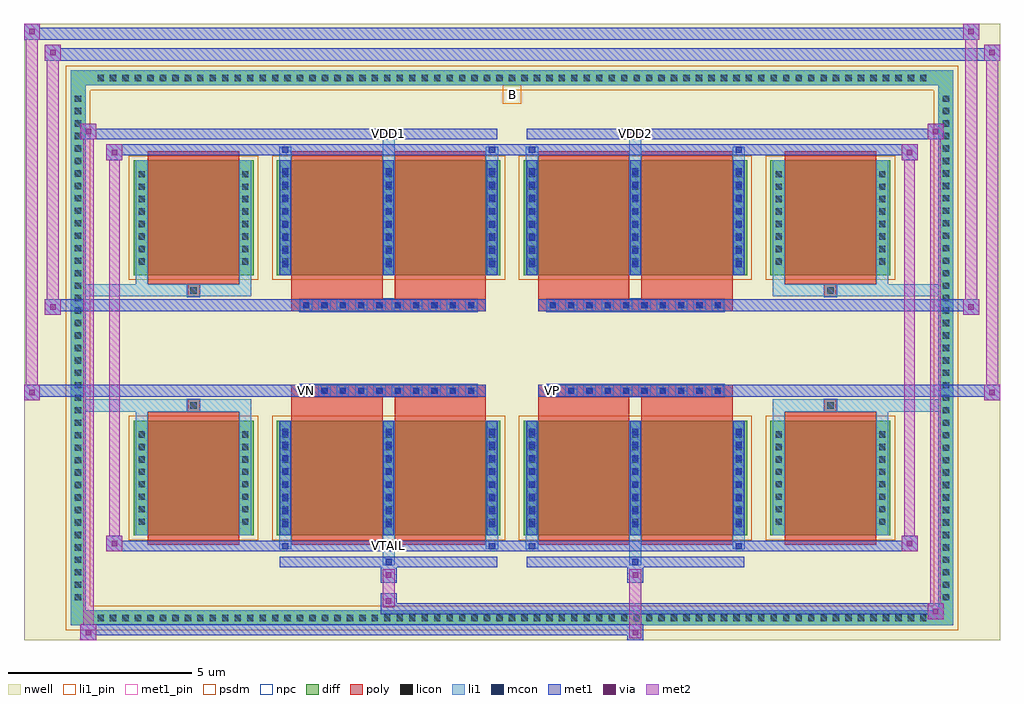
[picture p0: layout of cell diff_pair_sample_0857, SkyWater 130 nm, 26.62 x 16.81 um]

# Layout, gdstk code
import gdstk
lib = gdstk.Library(unit=1e-6, precision=5e-09)
def R(c, l, rs):  # rectangles x0, y0, x1, y1
    for r in rs: c.add(gdstk.rectangle(r[:2], r[2:], *l))
def A(c, l, x, y, w, h, nx, ny, dx, dy):  # array of equal rectangles
    R(c, l, [(x+i*dx, y+j*dy, x+i*dx+w, y+j*dy+h) for i in range(nx) for j in range(ny)])
def P(c, l, *ps):  # polygons
    for p in ps: c.add(gdstk.Polygon(p, *l))
nwell = (64, 20)
diff = (65, 20)
poly = (66, 20)
licon = (66, 44)
li1_pin = (67, 16)
li1 = (67, 20)
mcon = (67, 44)
met1_pin = (68, 16)
met1 = (68, 20)
via = (68, 44)
met2 = (69, 20)
psdm = (94, 20)
npc = (95, 20)

diff_pair_sample_0857 = lib.new_cell('diff_pair_sample_0857')
R(diff_pair_sample_0857, nwell, [(-13.31,-7.97,13.31,8.84), (-10.63,-6.16,-0.01,-0.8), (0.01,-6.16,10.63,-0.8), (-10.63,0.8,-0.01,6.16), (0.01,0.8,10.63,6.16)])
A(diff_pair_sample_0857, diff, -11.425, -7.57, 0.41, 0.41, 67, 2, 0.34, 14.73)
A(diff_pair_sample_0857, diff, -12.04, -7.005, 0.41, 0.41, 1, 41, 0, 0.34)
A(diff_pair_sample_0857, diff, 11.63, -7.005, 0.41, 0.41, 1, 41, 0, 0.34)
R(diff_pair_sample_0857, diff, [(-11.425,-7.57,11.425,-7.16), (-12.04,-7.005,-11.63,7.005), (11.63,-7.005,12.04,7.005), (-10.32,-5.115,-7.05,-1.985), (-6.41,-5.115,-0.32,-1.985), (0.32,-5.115,6.41,-1.985), (7.05,-5.115,10.32,-1.985), (-10.32,1.985,-7.05,5.115), (-6.41,1.985,-0.32,5.115), (0.32,1.985,6.41,5.115), (7.05,1.985,10.32,5.115), (-11.425,7.16,11.425,7.57)])
P(diff_pair_sample_0857, diff, [(12.04,7.57),(-12.04,7.57),(-12.04,-7.16),(-11.63,-7.16),(-11.63,7.16),(11.63,7.16),(11.63,-7.16),(-11.63,-7.16),(-12.04,-7.16),(-12.04,-7.57),(12.04,-7.57)])
A(diff_pair_sample_0857, poly, -5.78, -1.33, 0.33, 0.33, 10, 2, 0.5, 2.33)
A(diff_pair_sample_0857, poly, 0.95, -1.33, 0.33, 0.33, 10, 2, 0.5, 2.33)
R(diff_pair_sample_0857, poly, [(-9.93,-5.365,-7.44,-1.735), (-6.02,-5.365,-3.53,-1.735), (-3.2,-5.365,-0.71,-1.735), (0.71,-5.365,3.2,-1.735), (3.53,-5.365,6.02,-1.735), (7.44,-5.365,9.93,-1.735), (-8.85,-1.735,-8.52,-1.405), (-8.85,-1.735,-8.52,-1.405), (-6.02,-1.735,-3.53,-1.33), (-3.2,-1.735,-0.71,-1.33), (0.71,-1.735,3.2,-1.33), (3.53,-1.735,6.02,-1.33), (8.52,-1.735,8.85,-1.405), (8.52,-1.735,8.85,-1.405), (-6.02,-1.33,-0.71,-1), (0.71,-1.33,6.02,-1), (-6.02,1,-0.71,1.33), (0.71,1,6.02,1.33), (-6.02,1.33,-3.53,1.735), (-3.2,1.33,-0.71,1.735), (0.71,1.33,3.2,1.735), (3.53,1.33,6.02,1.735), (-8.85,1.405,-8.52,1.735), (-8.85,1.405,-8.52,1.735), (8.52,1.405,8.85,1.735), (8.52,1.405,8.85,1.735), (-9.93,1.735,-7.44,5.365), (-6.02,1.735,-3.53,5.365), (-3.2,1.735,-0.71,5.365), (0.71,1.735,3.2,5.365), (3.53,1.735,6.02,5.365), (7.44,1.735,9.93,5.365)])
A(diff_pair_sample_0857, licon, -11.305, -7.45, 0.17, 0.17, 67, 2, 0.34, 14.73)
A(diff_pair_sample_0857, licon, -11.92, -6.885, 0.17, 0.17, 1, 41, 0, 0.34)
A(diff_pair_sample_0857, licon, 11.75, -6.885, 0.17, 0.17, 1, 41, 0, 0.34)
A(diff_pair_sample_0857, licon, -10.18, -4.825, 0.17, 0.17, 1, 8, 0, 0.34)
A(diff_pair_sample_0857, licon, -7.36, -4.825, 0.17, 0.17, 1, 8, 0, 0.34)
A(diff_pair_sample_0857, licon, -6.27, -4.825, 0.17, 0.17, 3, 8, 2.82, 0.34)
A(diff_pair_sample_0857, licon, 0.46, -4.825, 0.17, 0.17, 3, 8, 2.82, 0.34)
A(diff_pair_sample_0857, licon, 7.19, -4.825, 0.17, 0.17, 1, 8, 0, 0.34)
A(diff_pair_sample_0857, licon, 10.01, -4.825, 0.17, 0.17, 1, 8, 0, 0.34)
A(diff_pair_sample_0857, licon, -5.7, -1.25, 0.17, 0.17, 10, 2, 0.5, 2.33)
A(diff_pair_sample_0857, licon, 1.03, -1.25, 0.17, 0.17, 10, 2, 0.5, 2.33)
A(diff_pair_sample_0857, licon, -10.18, 2.275, 0.17, 0.17, 1, 8, 0, 0.34)
A(diff_pair_sample_0857, licon, -7.36, 2.275, 0.17, 0.17, 1, 8, 0, 0.34)
A(diff_pair_sample_0857, licon, -6.27, 2.275, 0.17, 0.17, 3, 8, 2.82, 0.34)
A(diff_pair_sample_0857, licon, 0.46, 2.275, 0.17, 0.17, 3, 8, 2.82, 0.34)
A(diff_pair_sample_0857, licon, 7.19, 2.275, 0.17, 0.17, 1, 8, 0, 0.34)
A(diff_pair_sample_0857, licon, 10.01, 2.275, 0.17, 0.17, 1, 8, 0, 0.34)
R(diff_pair_sample_0857, licon, [(-8.77,-1.655,-8.6,-1.485), (8.6,-1.655,8.77,-1.485), (-8.77,1.485,-8.6,1.655), (8.6,1.485,8.77,1.655)])
R(diff_pair_sample_0857, li1_pin, [(-0.25,6.66,0.25,7.16)])
A(diff_pair_sample_0857, li1, -11.385, -7.53, 0.33, 0.33, 67, 2, 0.34, 14.73)
A(diff_pair_sample_0857, li1, -12, -6.965, 0.33, 0.33, 1, 41, 0, 0.34)
A(diff_pair_sample_0857, li1, 11.67, -6.965, 0.33, 0.33, 1, 41, 0, 0.34)
A(diff_pair_sample_0857, li1, -6.35, -5.115, 0.33, 3.13, 3, 2, 2.82, 7.1)
A(diff_pair_sample_0857, li1, 0.38, -5.115, 0.33, 3.13, 3, 2, 2.82, 7.1)
A(diff_pair_sample_0857, li1, -10.26, -4.905, 0.33, 0.33, 1, 8, 0, 0.34)
A(diff_pair_sample_0857, li1, -7.44, -4.905, 0.33, 0.33, 1, 8, 0, 0.34)
A(diff_pair_sample_0857, li1, -6.35, -4.905, 0.33, 0.33, 3, 8, 2.82, 0.34)
A(diff_pair_sample_0857, li1, 0.38, -4.905, 0.33, 0.33, 3, 8, 2.82, 0.34)
A(diff_pair_sample_0857, li1, 7.11, -4.905, 0.33, 0.33, 1, 8, 0, 0.34)
A(diff_pair_sample_0857, li1, 9.93, -4.905, 0.33, 0.33, 1, 8, 0, 0.34)
A(diff_pair_sample_0857, li1, -6.27, -4.895, 0.17, 0.17, 3, 8, 2.82, 0.36)
A(diff_pair_sample_0857, li1, -6.27, -4.895, 0.17, 2.69, 3, 2, 2.82, 7.1)
A(diff_pair_sample_0857, li1, 0.46, -4.895, 0.17, 0.17, 3, 8, 2.82, 0.36)
A(diff_pair_sample_0857, li1, 0.46, -4.895, 0.17, 2.69, 3, 2, 2.82, 7.1)
A(diff_pair_sample_0857, li1, -5.78, -1.33, 0.33, 0.33, 10, 2, 0.5, 2.33)
A(diff_pair_sample_0857, li1, 0.95, -1.33, 0.33, 0.33, 10, 2, 0.5, 2.33)
A(diff_pair_sample_0857, li1, -10.26, 2.195, 0.33, 0.33, 1, 8, 0, 0.34)
A(diff_pair_sample_0857, li1, -7.44, 2.195, 0.33, 0.33, 1, 8, 0, 0.34)
A(diff_pair_sample_0857, li1, -6.35, 2.195, 0.33, 0.33, 3, 8, 2.82, 0.34)
A(diff_pair_sample_0857, li1, 0.38, 2.195, 0.33, 0.33, 3, 8, 2.82, 0.34)
A(diff_pair_sample_0857, li1, 7.11, 2.195, 0.33, 0.33, 1, 8, 0, 0.34)
A(diff_pair_sample_0857, li1, 9.93, 2.195, 0.33, 0.33, 1, 8, 0, 0.34)
A(diff_pair_sample_0857, li1, -6.27, 2.205, 0.17, 0.17, 3, 8, 2.82, 0.36)
A(diff_pair_sample_0857, li1, 0.46, 2.205, 0.17, 0.17, 3, 8, 2.82, 0.36)
R(diff_pair_sample_0857, li1, [(-12.04,-7.57,-11.63,-7.16), (-12.04,-7.57,-11.63,-7.16), (-11.63,-7.57,11.63,-7.16), (11.63,-7.57,12.04,-7.16), (11.63,-7.57,12.04,-7.16), (-12.04,-7.16,-11.63,7.16), (11.63,-7.16,12.04,7.16), (-3.53,-5.92,-3.2,-5.115), (-3.45,-5.92,-3.28,-5.75), (3.2,-5.92,3.53,-5.115), (3.28,-5.92,3.45,-5.75), (-6.35,-5.49,-6.02,-5.115), (-6.27,-5.49,-6.1,-5.32), (-0.71,-5.49,-0.38,-5.115), (-0.63,-5.49,-0.46,-5.32), (0.38,-5.49,0.71,-5.115), (0.46,-5.49,0.63,-5.32), (6.02,-5.49,6.35,-5.115), (6.1,-5.49,6.27,-5.32), (-10.26,-5.115,-9.93,-1.985), (-7.44,-5.115,-7.11,-1.985), (7.11,-5.115,7.44,-1.985), (9.93,-5.115,10.26,-1.985), (-10.26,-1.985,-9.93,-1.405), (-7.44,-1.985,-7.11,-1.405), (7.11,-1.985,7.44,-1.405), (9.93,-1.985,10.26,-1.405), (-12.04,-1.735,-8.85,-1.405), (-10.26,-1.735,-8.85,-1.405), (-8.85,-1.735,-8.52,-1.405), (-8.52,-1.735,-7.11,-1.405), (7.11,-1.735,8.52,-1.405), (8.52,-1.735,8.85,-1.405), (8.52,-1.735,12.04,-1.405), (8.85,-1.735,10.26,-1.405), (-12.04,1.405,-8.85,1.735), (-10.26,1.405,-8.85,1.735), (-10.26,1.405,-9.93,1.985), (-8.85,1.405,-8.52,1.735), (-8.52,1.405,-7.11,1.735), (-7.44,1.405,-7.11,1.985), (7.11,1.405,8.52,1.735), (7.11,1.405,7.44,1.985), (8.52,1.405,8.85,1.735), (8.52,1.405,12.04,1.735), (8.85,1.405,10.26,1.735), (9.93,1.405,10.26,1.985), (-10.26,1.985,-9.93,5.115), (-7.44,1.985,-7.11,5.115), (7.11,1.985,7.44,5.115), (9.93,1.985,10.26,5.115), (-6.35,5.115,-6.02,5.49), (-3.53,5.115,-3.2,5.92), (-0.71,5.115,-0.38,5.49), (0.38,5.115,0.71,5.49), (3.2,5.115,3.53,5.92), (6.02,5.115,6.35,5.49), (-6.27,5.32,-6.1,5.49), (-0.63,5.32,-0.46,5.49), (0.46,5.32,0.63,5.49), (6.1,5.32,6.27,5.49), (-3.45,5.75,-3.28,5.92), (3.28,5.75,3.45,5.92), (-12.04,7.16,-11.63,7.57), (-12.04,7.16,-11.63,7.57), (-11.63,7.16,11.63,7.57), (11.63,7.16,12.04,7.57), (11.63,7.16,12.04,7.57)])
A(diff_pair_sample_0857, mcon, -6.27, -4.895, 0.17, 0.17, 3, 8, 2.82, 0.36)
A(diff_pair_sample_0857, mcon, 0.46, -4.895, 0.17, 0.17, 3, 8, 2.82, 0.36)
A(diff_pair_sample_0857, mcon, -5.7, -1.25, 0.17, 0.17, 10, 2, 0.5, 2.33)
A(diff_pair_sample_0857, mcon, 1.03, -1.25, 0.17, 0.17, 10, 2, 0.5, 2.33)
A(diff_pair_sample_0857, mcon, -6.27, 2.205, 0.17, 0.17, 3, 8, 2.82, 0.36)
A(diff_pair_sample_0857, mcon, 0.46, 2.205, 0.17, 0.17, 3, 8, 2.82, 0.36)
R(diff_pair_sample_0857, mcon, [(-3.45,-5.92,-3.28,-5.75), (3.28,-5.92,3.45,-5.75), (-6.27,-5.49,-6.1,-5.32), (-0.63,-5.49,-0.46,-5.32), (0.46,-5.49,0.63,-5.32), (6.1,-5.49,6.27,-5.32), (-6.27,5.32,-6.1,5.49), (-0.63,5.32,-0.46,5.49), (0.46,5.32,0.63,5.49), (6.1,5.32,6.27,5.49), (-3.45,5.75,-3.28,5.92), (3.28,5.75,3.45,5.92)])
R(diff_pair_sample_0857, met1_pin, [(-3.5,-5.53,-3.23,-5.26), (-5.75,-1.29,-5.48,-1.02), (0.98,-1.29,1.25,-1.02), (-3.5,5.71,-3.23,5.98), (3.23,5.71,3.5,5.98)])
A(diff_pair_sample_0857, met1, -6.33, -5.115, 0.29, 3.13, 3, 2, 2.82, 7.1)
A(diff_pair_sample_0857, met1, 0.4, -5.115, 0.29, 3.13, 3, 2, 2.82, 7.1)
A(diff_pair_sample_0857, met1, -6.33, -4.955, 0.29, 0.29, 3, 8, 2.82, 0.36)
A(diff_pair_sample_0857, met1, 0.4, -4.955, 0.29, 0.29, 3, 8, 2.82, 0.36)
A(diff_pair_sample_0857, met1, -5.76, -1.31, 0.29, 0.29, 10, 2, 0.5, 2.33)
A(diff_pair_sample_0857, met1, 0.97, -1.31, 0.29, 0.29, 10, 2, 0.5, 2.33)
A(diff_pair_sample_0857, met1, -6.33, 2.145, 0.29, 0.29, 3, 8, 2.82, 0.36)
A(diff_pair_sample_0857, met1, 0.4, 2.145, 0.29, 0.29, 3, 8, 2.82, 0.36)
R(diff_pair_sample_0857, met1, [(-11.77,-7.97,-11.34,-7.54), (3.15,-7.97,3.58,-7.54), (-11.77,-7.83,3.58,-7.54), (11.34,-7.4,11.77,-6.97), (-3.58,-7.26,11.77,-6.97), (-3.58,-7.12,-3.15,-6.69), (-3.58,-6.41,-3.15,-5.98), (3.15,-6.41,3.58,-5.98), (-6.33,-5.98,-0.4,-5.69), (-3.51,-5.98,-3.22,-5.69), (0.4,-5.98,6.33,-5.69), (3.22,-5.98,3.51,-5.69), (-11.06,-5.55,-10.63,-5.12), (-11.06,-5.55,-6.33,-5.26), (-6.33,-5.55,-6.04,-5.26), (-6.33,-5.55,-0.4,-5.26), (-0.69,-5.55,-0.4,-5.26), (-0.4,-5.55,0.4,-5.26), (0.4,-5.55,0.69,-5.26), (0.4,-5.55,6.33,-5.26), (6.04,-5.55,6.33,-5.26), (6.33,-5.55,11.06,-5.26), (10.63,-5.55,11.06,-5.12), (-13.31,-1.43,-12.88,-1), (12.88,-1.43,13.31,-1), (-13.31,-1.33,-0.71,-1), (-6.02,-1.33,-0.71,-1), (0.71,-1.33,6.02,-1), (0.71,-1.33,13.31,-1), (-12.74,0.9,-12.31,1.33), (12.31,0.9,12.74,1.33), (-12.74,1,-6.02,1.33), (-6.02,1,-0.71,1.33), (0.71,1,6.02,1.33), (6.02,1,12.74,1.33), (-11.06,5.12,-10.63,5.55), (10.63,5.12,11.06,5.55), (-11.06,5.26,-6.33,5.55), (-6.33,5.26,-6.04,5.55), (-6.33,5.26,-0.4,5.55), (-0.69,5.26,-0.4,5.55), (-0.4,5.26,0.4,5.55), (0.4,5.26,0.69,5.55), (0.4,5.26,6.33,5.55), (6.04,5.26,6.33,5.55), (6.33,5.26,11.06,5.55), (-11.77,5.69,-11.34,6.12), (-11.77,5.69,-6.33,5.98), (-6.33,5.69,-0.4,5.98), (-3.51,5.69,-3.22,5.98), (0.4,5.69,6.33,5.98), (3.22,5.69,3.51,5.98), (6.33,5.69,11.77,5.98), (11.34,5.69,11.77,6.12), (-12.74,7.84,-12.31,8.27), (-12.74,7.84,-10.63,8.17), (-10.63,7.84,10.63,8.17), (10.63,7.84,13.31,8.17), (12.88,7.84,13.31,8.27), (-13.31,8.41,-12.88,8.84), (-13.31,8.41,-10.63,8.74), (-10.63,8.41,10.63,8.74), (10.63,8.41,12.74,8.74), (12.31,8.41,12.74,8.84)])
R(diff_pair_sample_0857, via, [(-11.63,-7.83,-11.48,-7.68), (3.29,-7.83,3.44,-7.68), (11.48,-7.26,11.63,-7.11), (-3.44,-6.98,-3.29,-6.83), (-3.44,-6.27,-3.29,-6.12), (3.29,-6.27,3.44,-6.12), (-10.92,-5.41,-10.77,-5.26), (10.77,-5.41,10.92,-5.26), (-13.17,-1.29,-13.02,-1.14), (13.02,-1.29,13.17,-1.14), (-12.6,1.04,-12.45,1.19), (12.45,1.04,12.6,1.19), (-10.92,5.26,-10.77,5.41), (10.77,5.26,10.92,5.41), (-11.63,5.83,-11.48,5.98), (11.48,5.83,11.63,5.98), (-12.6,7.98,-12.45,8.13), (13.02,7.98,13.17,8.13), (-13.17,8.55,-13.02,8.7), (12.45,8.55,12.6,8.7)])
R(diff_pair_sample_0857, met2, [(-11.77,-7.97,-11.34,-7.54), (-11.7,-7.97,-11.41,6.12), (-11.41,-7.97,-11.34,-7.54), (-11.72,-7.92,-11.39,-7.59), (3.2,-7.92,3.53,-7.59), (3.2,-7.59,3.53,-6.36), (11.34,-7.4,11.77,-6.97), (11.41,-7.4,11.7,6.12), (11.7,-7.4,11.77,-6.97), (11.39,-7.35,11.72,-7.02), (-3.53,-7.07,-3.2,-6.74), (-3.53,-6.74,-3.2,-6.36), (-3.53,-6.36,-3.2,-6.03), (3.2,-6.36,3.53,-6.03), (-11.06,-5.55,-10.63,-5.12), (-10.99,-5.55,-10.7,5.55), (-10.7,-5.55,-10.63,-5.12), (10.63,-5.55,11.06,-5.12), (10.7,-5.55,10.99,5.55), (10.99,-5.55,11.06,-5.12), (-11.01,-5.5,-10.68,-5.17), (10.68,-5.5,11.01,-5.17), (-13.31,-1.43,-12.88,-1), (-13.26,-1.43,-12.93,8.84), (-12.93,-1.43,-12.88,-1), (12.88,-1.43,13.31,-1), (12.93,-1.43,13.26,8.27), (13.26,-1.43,13.31,-1), (-13.26,-1.38,-12.93,-1.05), (12.93,-1.38,13.26,-1.05), (-12.74,0.9,-12.31,1.33), (-12.69,0.9,-12.36,8.27), (-12.36,0.9,-12.31,1.33), (12.31,0.9,12.74,1.33), (12.36,0.9,12.69,8.84), (12.69,0.9,12.74,1.33), (-12.69,0.95,-12.36,1.28), (12.36,0.95,12.69,1.28), (-11.06,5.12,-10.63,5.55), (-10.7,5.12,-10.63,5.55), (10.63,5.12,11.06,5.55), (10.99,5.12,11.06,5.55), (-11.01,5.17,-10.68,5.5), (10.68,5.17,11.01,5.5), (-11.77,5.69,-11.34,6.12), (-11.41,5.69,-11.34,6.12), (11.34,5.69,11.77,6.12), (11.7,5.69,11.77,6.12), (-11.72,5.74,-11.39,6.07), (11.39,5.74,11.72,6.07), (-12.74,7.84,-12.31,8.27), (-12.36,7.84,-12.31,8.27), (12.88,7.84,13.31,8.27), (13.26,7.84,13.31,8.27), (-12.69,7.89,-12.36,8.22), (12.93,7.89,13.26,8.22), (-13.31,8.41,-12.88,8.84), (-12.93,8.41,-12.88,8.84), (12.31,8.41,12.74,8.84), (12.69,8.41,12.74,8.84), (-13.26,8.46,-12.93,8.79), (12.36,8.46,12.69,8.79)])
R(diff_pair_sample_0857, psdm, [(-10.45,-5.245,-6.92,-1.855), (-6.54,-5.245,-0.19,-1.855), (0.19,-5.245,6.54,-1.855), (6.92,-5.245,10.45,-1.855), (-10.45,1.855,-6.92,5.245), (-6.54,1.855,-0.19,5.245), (0.19,1.855,6.54,5.245), (6.92,1.855,10.45,5.245)])
P(diff_pair_sample_0857, psdm, [(12.17,7.7),(-12.17,7.7),(-12.17,-7.03),(-11.5,-7.03),(-11.5,7.03),(11.5,7.03),(11.5,-7.03),(-11.5,-7.03),(-12.17,-7.03),(-12.17,-7.7),(12.17,-7.7)])
A(diff_pair_sample_0857, npc, -5.8, -1.35, 0.37, 0.37, 10, 2, 0.5, 2.33)
A(diff_pair_sample_0857, npc, 0.93, -1.35, 0.37, 0.37, 10, 2, 0.5, 2.33)
R(diff_pair_sample_0857, npc, [(-8.87,-1.755,-8.5,-1.385), (8.5,-1.755,8.87,-1.385), (-5.8,-1.35,-4.93,-0.98), (-5.8,-1.35,-4.93,-0.98), (-5.3,-1.35,-4.43,-0.98), (-5.3,-1.35,-4.43,-0.98), (-4.8,-1.35,-3.93,-0.98), (-4.8,-1.35,-3.93,-0.98), (-4.3,-1.35,-3.43,-0.98), (-4.3,-1.35,-3.43,-0.98), (-3.8,-1.35,-2.93,-0.98), (-3.8,-1.35,-2.93,-0.98), (-3.3,-1.35,-2.43,-0.98), (-3.3,-1.35,-2.43,-0.98), (-2.8,-1.35,-1.93,-0.98), (-2.8,-1.35,-1.93,-0.98), (-2.3,-1.35,-1.43,-0.98), (-2.3,-1.35,-1.43,-0.98), (-1.8,-1.35,-0.93,-0.98), (-1.8,-1.35,-0.93,-0.98), (0.93,-1.35,1.8,-0.98), (0.93,-1.35,1.8,-0.98), (1.43,-1.35,2.3,-0.98), (1.43,-1.35,2.3,-0.98), (1.93,-1.35,2.8,-0.98), (1.93,-1.35,2.8,-0.98), (2.43,-1.35,3.3,-0.98), (2.43,-1.35,3.3,-0.98), (2.93,-1.35,3.8,-0.98), (2.93,-1.35,3.8,-0.98), (3.43,-1.35,4.3,-0.98), (3.43,-1.35,4.3,-0.98), (3.93,-1.35,4.8,-0.98), (3.93,-1.35,4.8,-0.98), (4.43,-1.35,5.3,-0.98), (4.43,-1.35,5.3,-0.98), (4.93,-1.35,5.8,-0.98), (4.93,-1.35,5.8,-0.98), (-5.8,0.98,-4.93,1.35), (-5.8,0.98,-4.93,1.35), (-5.3,0.98,-4.43,1.35), (-5.3,0.98,-4.43,1.35), (-4.8,0.98,-3.93,1.35), (-4.8,0.98,-3.93,1.35), (-4.3,0.98,-3.43,1.35), (-4.3,0.98,-3.43,1.35), (-3.8,0.98,-2.93,1.35), (-3.8,0.98,-2.93,1.35), (-3.3,0.98,-2.43,1.35), (-3.3,0.98,-2.43,1.35), (-2.8,0.98,-1.93,1.35), (-2.8,0.98,-1.93,1.35), (-2.3,0.98,-1.43,1.35), (-2.3,0.98,-1.43,1.35), (-1.8,0.98,-0.93,1.35), (-1.8,0.98,-0.93,1.35), (0.93,0.98,1.8,1.35), (0.93,0.98,1.8,1.35), (1.43,0.98,2.3,1.35), (1.43,0.98,2.3,1.35), (1.93,0.98,2.8,1.35), (1.93,0.98,2.8,1.35), (2.43,0.98,3.3,1.35), (2.43,0.98,3.3,1.35), (2.93,0.98,3.8,1.35), (2.93,0.98,3.8,1.35), (3.43,0.98,4.3,1.35), (3.43,0.98,4.3,1.35), (3.93,0.98,4.8,1.35), (3.93,0.98,4.8,1.35), (4.43,0.98,5.3,1.35), (4.43,0.98,5.3,1.35), (4.93,0.98,5.8,1.35), (4.93,0.98,5.8,1.35), (-8.87,1.385,-8.5,1.755), (8.5,1.385,8.87,1.755)])
diff_pair_sample_0857.add(gdstk.Label('VTAIL', (-3.365,-5.395), layer=68, texttype=5))
diff_pair_sample_0857.add(gdstk.Label('VN', (-5.615,-1.155), layer=68, texttype=5))
diff_pair_sample_0857.add(gdstk.Label('VP', (1.115,-1.155), layer=68, texttype=5))
diff_pair_sample_0857.add(gdstk.Label('B', (0,6.91), layer=67, texttype=5))
diff_pair_sample_0857.add(gdstk.Label('VDD2', (3.365,5.845), layer=68, texttype=5))
diff_pair_sample_0857.add(gdstk.Label('VDD1', (-3.365,5.845), layer=68, texttype=5))

lib.write_gds('diff_pair_sample_0857.gds')
